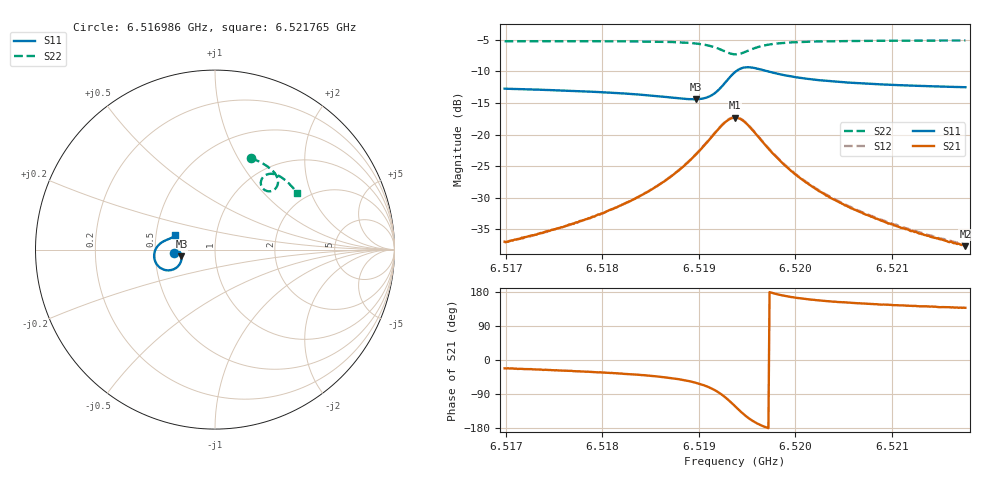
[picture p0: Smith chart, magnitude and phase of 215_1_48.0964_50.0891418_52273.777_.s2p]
#  HZ  S  RI  R  50.00
! Rohde & Schwarz Vector Network Analyzer
! Rohde-Schwarz,ZNB20-2Port,1311601062101988,3.16
! Created: UTC 12/23/2023, 3:56:10 AM
! freq[Hz]  re:S11  im:S11  re:S21  im:S21  re:S12  im:S12  re:S22  im:S22
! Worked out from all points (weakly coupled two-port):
!   401 points, 6.516986 GHz to 6.521765 GHz, reference 50 ohm
!   highest |S21| = -17.30 dB at 6.519375 GHz (marker M1); lowest = -37.6 dB at 6.521765 GHz (marker M2)
!   lowest |S11| = -14.4 dB at 6.518969 GHz (marker M3), VSWR 1.47, Z = 34.2 - j2.65 ohm
!   |S11| at or under -10 dB: start of sweep to 6.519384 GHz; 6.51972 GHz to end of sweep
!   |S22| runs from -7.3 to -5.1 dB; largest |S21 - S12| = 0.0042
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6.516986e9  -0.2304 -0.0174  0.0132 -0.00534  0.0133 -0.00483  0.2021 0.5096
6.5173085e9  -0.2269 -0.0124  0.0147 -0.00684  0.0149 -0.00634  0.226 0.4998
6.5177864e9  -0.2203 -0.00678  0.018 -0.0105  0.0183 -0.00985  0.2613 0.4825
6.5179895e9  -0.2166 -0.00529  0.02 -0.0128  0.0204 -0.0123  0.2764 0.4737
6.5182882e9  -0.21 -0.00494  0.0236 -0.0182  0.0242 -0.0175  0.2991 0.4583
6.5185869e9  -0.2009 -0.00931  0.0289 -0.028  0.0299 -0.027  0.3222 0.4383
6.51879e9  -0.1931 -0.0186  0.033 -0.0401  0.0344 -0.0394  0.3379 0.419
6.5189692e9  -0.1868 -0.0373  0.0346 -0.0603  0.0366 -0.0596  0.3493 0.3935
6.5190648e9  -0.1871 -0.0549  0.0316 -0.0772  0.0341 -0.0768  0.3511 0.3747
6.5191484e9  -0.1939 -0.0761  0.0219 -0.0966  0.025 -0.0966  0.3464 0.3544
6.5192798e9  -0.2361 -0.1117  -0.021 -0.125  -0.0176 -0.1264  0.3139 0.3263
6.5193754e9  -0.2931 -0.1082  -0.072 -0.1159  -0.0692 -0.1188  0.2746 0.3334
6.5194232e9  -0.318 -0.0899  -0.0923 -0.0972  -0.0902 -0.1006  0.2608 0.3491
6.5194829e9  -0.3357 -0.0588  -0.1043 -0.0682  -0.1031 -0.0718  0.2551 0.3731
6.5195904e9  -0.335 -0.0089  -0.0983 -0.0256  -0.0985 -0.0287  0.2695 0.4057
6.519698e9  -0.3189 0.0203  -0.0814 -0.00319  -0.0819 -0.00566  0.2923 0.4197
6.5199369e9  -0.287 0.0458  -0.052 0.0119  -0.0529 0.0105  0.3327 0.4196
6.5201758e9  -0.268 0.0545  -0.0362 0.0139  -0.037 0.0129  0.3599 0.4085
6.5205343e9  -0.2515 0.0615  -0.0241 0.0128  -0.0248 0.0124  0.3895 0.3883
6.5209763e9  -0.2389 0.0679  -0.0164 0.0113  -0.0169 0.0109  0.4181 0.3622
6.521502e9  -0.2283 0.0752  -0.0113 0.00972  -0.0119 0.00941  0.4463 0.3303
6.5217648e9  -0.2239 0.0787  -0.00971 0.00882  -0.0102 0.00884  0.4592 0.314
